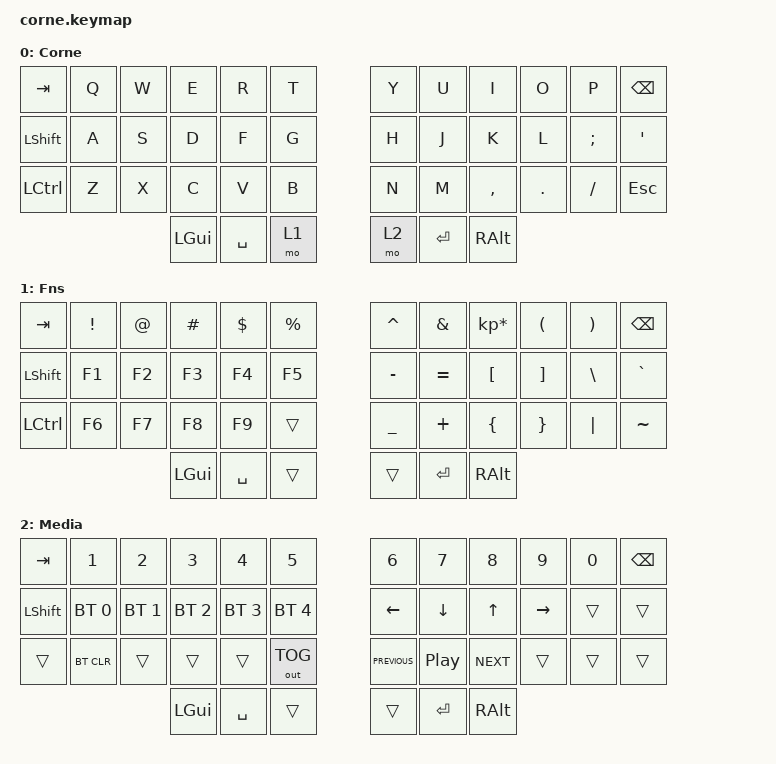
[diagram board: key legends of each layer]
/*
 * Copyright (c) 2020 The ZMK Contributors
 *
 * SPDX-License-Identifier: MIT
 */

#include <behaviors.dtsi>
#include <dt-bindings/zmk/keys.h>
#include <dt-bindings/zmk/bt.h>
#include <dt-bindings/zmk/outputs.h>

/ {
        keymap {
                compatible = "zmk,keymap";

                default_layer {
// --------------------------------------   ---------------------------------------
// |  TAB |  Q  |  W  |  E  |  R  |  T  |   |  Y  |  U   |  I  |  O  |  P  | BKSP |
// | SHFT |  A  |  S  |  D  |  F  |  G  |   |  H  |  J   |  K  |  L  |  ;  |  '   |
// | CTRL |  Z  |  X  |  C  |  V  |  B  |   |  N  |  M   |  ,  |  .  |  /  | ESC  |
//                    | GUI | SPC | LWR |   | RSE | ENT  | ALT |
                        label = " Corne";
                        bindings = <
   &kp TAB   &kp Q &kp W &kp E &kp R &kp T   &kp Y &kp U  &kp I     &kp O   &kp P    &kp BSPC
   &kp LSHFT &kp A &kp S &kp D &kp F &kp G   &kp H &kp J  &kp K     &kp L   &kp SEMI &kp SQT
   &kp LCTRL &kp Z &kp X &kp C &kp V &kp B   &kp N &kp M  &kp COMMA &kp DOT &kp FSLH &kp ESC
                  &kp LGUI &kp SPACE &mo 1   &mo 2 &kp RET &kp RALT
                        >;
                };
                lower_layer {
// --------------------------------------   --------------------------------------
// |  TAB |  !  |  @  |  #  |  $  |  %  |   |  ^  |  &  |  *  |  (  |  )  | BKSP |
// | SHFT | Fn1 | Fn2 | Fn3 | Fn4 | Fn5 |   |  -  |  =  |  [  |  ]  |  \  |  `   |
// | CTRL | Fn6 | Fn7 | Fn8 | Fn9 |     |   |  _  |  +  |  {  |  }  | "|" |  ~   |
//                    | GUI | SPC |     |   |     | ENT | ALT |
                        label = " Fns";
                        bindings = <
   &kp TAB   &kp EXCL &kp AT &kp HASH &kp DLLR  &kp PRCNT   &kp CARET &kp AMPS  &kp KP_MULTIPLY &kp LPAR &kp RPAR &kp BSPC
   &kp LSHFT &kp F1   &kp F2 &kp F3   &kp F4    &kp F5      &kp MINUS &kp EQUAL &kp LBKT        &kp RBKT &kp BSLH &kp GRAVE
   &kp LCTRL &kp F6   &kp F7 &kp F8   &kp F9    &trans      &kp UNDER &kp PLUS  &kp LBRC        &kp RBRC &kp PIPE &kp TILDE
                    	     &kp LGUI &kp SPACE &trans      &trans    &kp RET   &kp RALT
                        >;

                };

                raise_layer {
// --------------------------------------   --------------------------------------
// |  TAB |  1  |  2  |  3  |  4  |  5  |   |  6  |  7  |  8  |  9  |  0  | BKSP |
// | SHFT | BT1 | BT2 | BT3 | BT4 | BT5 |   | LFT | DWN |  UP | RGT |     |      |
// |      |BTCLR|     |     |     |OUTTG|   | <<  | >|| |  >> |     |     |      |
//                    | GUI | SPC |     |   |     | ENT | ALT |
                        label = " Media";
                        bindings = <
   &kp TAB    &kp N1       &kp N2       &kp N3       &kp N4       &kp N5         &kp N6         &kp N7           &kp N8     &kp N9    &kp N0 &kp BSPC
   &kp LSHFT  &bt BT_SEL 0 &bt BT_SEL 1 &bt BT_SEL 2 &bt BT_SEL 3 &bt BT_SEL 4   &kp LEFT       &kp DOWN         &kp UP     &kp RIGHT &trans &trans
   &trans     &bt BT_CLR   &trans       &trans       &trans       &out OUT_TOG   &kp C_PREVIOUS &kp C_PLAY_PAUSE &kp C_NEXT &trans    &trans &trans
                          	        &kp LGUI     &kp SPACE    &trans         &trans         &kp RET          &kp RALT
                        >;
                };
        };
};
